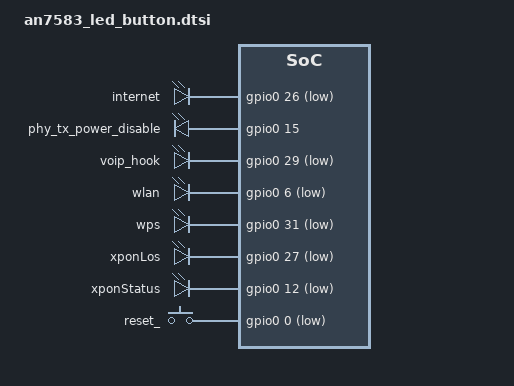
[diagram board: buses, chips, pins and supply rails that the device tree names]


#include <dt-bindings/interrupt-controller/irq.h>
#include <dt-bindings/interrupt-controller/arm-gic.h>

/ {
	compatible = "airoha,an7583";
	#address-cells = <2>;
	#size-cells = <2>;
	
	leds {
		compatible = "gpio-leds";
		internet {
			label = "internet";
			gpios = <&gpio0 26 GPIO_ACTIVE_LOW>;
			linux,default-trigger = "dsldev";
		};
		phy_tx_power_disable {
			label = "phy_tx_power_disable";
			gpios = <&gpio0 15 GPIO_ACTIVE_HIGH>;
			linux,default-trigger = "dsldev";
			default-state = "on";
		};
		voip_hook {
			label = "voip_hook";
			gpios = <&gpio0 29 GPIO_ACTIVE_LOW>;
			linux,default-trigger = "dsldev";
		};
		wlan {
			label = "wlan";
			gpios = <&gpio0 6 GPIO_ACTIVE_LOW>;
			linux,default-trigger = "dsldev";
		};
		wps {
			label = "wps";
			gpios = <&gpio0 31 GPIO_ACTIVE_LOW>;
			linux,default-trigger = "dsldev";
		};
		xponLos {
			label = "xponLos";
			gpios = <&gpio0 27 GPIO_ACTIVE_LOW>;
			linux,default-trigger = "dsldev";
		};
		
		xponStatus {
			label = "xponStatus";
			gpios = <&gpio0 12 GPIO_ACTIVE_LOW>;
			linux,default-trigger = "dsldev";
		};
	};
	
	gpio-keys-polled {
		compatible = "gpio-keys-polled";
		poll-interval = <100>;
		
		reset_ {
			label = "reset_";
			linux,code = <BTN_0>;
			gpios = <&gpio0 0 GPIO_ACTIVE_LOW>;
		};
	};	
};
